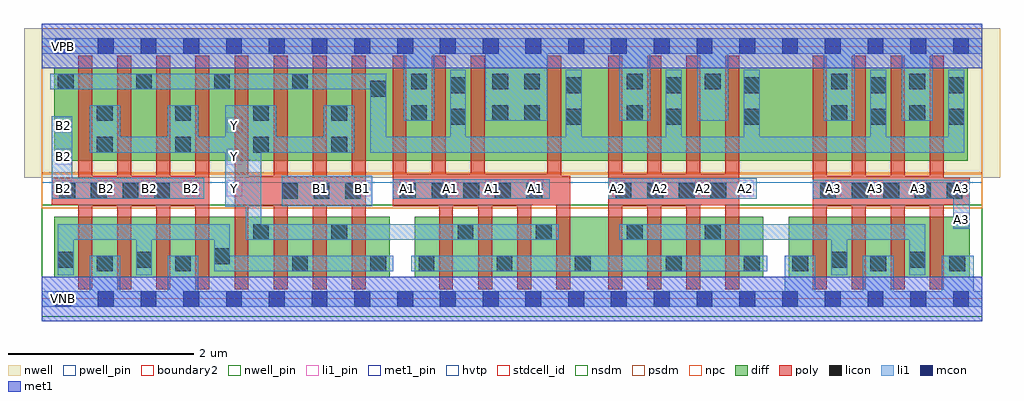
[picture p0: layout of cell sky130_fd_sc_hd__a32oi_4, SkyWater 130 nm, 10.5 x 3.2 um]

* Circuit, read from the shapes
.subckt sky130_fd_sc_hd__a32oi_4 A1 A2 A3 B1 B2 VGND VNB VPB VPWR Y
XM1 VGND B2 n1 VNB sky130_fd_pr__nfet_01v8 w=0.65 l=0.15 m=4
XM2 Y B1 n1 VNB sky130_fd_pr__nfet_01v8 w=0.65 l=0.15 m=4
XM3 Y A1 n2 VNB sky130_fd_pr__nfet_01v8 w=0.65 l=0.15 m=4
XM4 n3 A2 n2 VNB sky130_fd_pr__nfet_01v8 w=0.65 l=0.15 m=4
XM5 n3 A3 VGND VNB sky130_fd_pr__nfet_01v8 w=0.65 l=0.15 m=4
XM6 Y B2 n4 VPB sky130_fd_pr__pfet_01v8_hvt w=1 l=0.15 m=4
XM7 Y B1 n4 VPB sky130_fd_pr__pfet_01v8_hvt w=1 l=0.15 m=4
XM8 VPWR A1 n4 VPB sky130_fd_pr__pfet_01v8_hvt w=1 l=0.15 m=4
XM9 VPWR A2 n4 VPB sky130_fd_pr__pfet_01v8_hvt w=1 l=0.15 m=4
XM10 VPWR A3 n4 VPB sky130_fd_pr__pfet_01v8_hvt w=1 l=0.15 m=4
.ends

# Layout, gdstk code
import gdstk
lib = gdstk.Library(unit=1e-6, precision=1e-09)
def R(c, l, rs):  # rectangles x0, y0, x1, y1
    for r in rs: c.add(gdstk.rectangle(r[:2], r[2:], *l))
def A(c, l, x, y, w, h, nx, ny, dx, dy):  # array of equal rectangles
    R(c, l, [(x+i*dx, y+j*dy, x+i*dx+w, y+j*dy+h) for i in range(nx) for j in range(ny)])
def P(c, l, *ps):  # polygons
    for p in ps: c.add(gdstk.Polygon(p, *l))
nwell_pin = (64, 16)
nwell = (64, 20)
diff = (65, 20)
poly = (66, 20)
licon = (66, 44)
li1_pin = (67, 16)
li1 = (67, 20)
mcon = (67, 44)
met1_pin = (68, 16)
met1 = (68, 20)
hvtp = (78, 44)
stdcell_id = (81, 4)
nsdm = (93, 44)
psdm = (94, 20)
npc = (95, 20)
pwell_pin = (122, 16)
boundary2 = (236, 0)

sky130_fd_sc_hd__a32oi_4 = lib.new_cell('sky130_fd_sc_hd__a32oi_4')
R(sky130_fd_sc_hd__a32oi_4, nwell_pin, [(0.15,2.635,0.32,2.805), (0.15,2.635,0.32,2.805)])
R(sky130_fd_sc_hd__a32oi_4, nwell, [(-0.19,1.305,10.31,2.91)])
R(sky130_fd_sc_hd__a32oi_4, diff, [(0.135,0.235,3.745,0.885), (4.015,0.235,7.765,0.885), (8.035,0.235,9.985,0.885), (0.135,1.485,9.965,2.485)])
R(sky130_fd_sc_hd__a32oi_4, poly, [(0.11,1.015,0.395,1.025), (0.11,1.295,0.395,1.305)])
P(sky130_fd_sc_hd__a32oi_4, poly, [(9.985,1.305),(9.705,1.305),(9.705,2.615),(9.555,2.615),(9.555,1.325),(9.285,1.325),(9.285,2.615),(9.135,2.615),(9.135,1.325),(8.865,1.325),(8.865,2.615),(8.715,2.615),(8.715,1.325),(8.445,1.325),(8.445,2.615),(8.295,2.615),(8.295,0.105),(8.445,0.105),(8.445,0.995),(8.715,0.995),(8.715,0.105),(8.865,0.105),(8.865,0.995),(9.135,0.995),(9.135,0.105),(9.285,0.105),(9.285,0.995),(9.555,0.995),(9.555,0.105),(9.705,0.105),(9.705,1.015),(9.985,1.015)],
  [(7.505,2.615),(7.355,2.615),(7.355,1.345),(7.085,1.345),(7.085,2.615),(6.935,2.615),(6.935,1.345),(6.665,1.345),(6.665,2.615),(6.515,2.615),(6.515,1.345),(6.245,1.345),(6.245,2.615),(6.095,2.615),(6.095,0.105),(6.245,0.105),(6.245,0.995),(6.515,0.995),(6.515,0.105),(6.665,0.105),(6.665,0.995),(6.935,0.995),(6.935,0.105),(7.085,0.105),(7.085,1.01),(7.355,1.01),(7.355,0.105),(7.505,0.105)],
  [(5.685,1.325),(5.59,1.325),(5.59,2.615),(5.44,2.615),(5.44,1.345),(4.765,1.345),(4.765,2.615),(4.615,2.615),(4.615,1.345),(4.345,1.345),(4.345,2.615),(4.195,2.615),(4.195,1.345),(3.925,1.345),(3.925,2.615),(3.775,2.615),(3.775,0.995),(4.275,0.995),(4.275,0.105),(4.425,0.105),(4.425,0.995),(4.695,0.995),(4.695,0.105),(4.845,0.105),(4.845,0.995),(5.115,0.995),(5.115,0.105),(5.265,0.105),(5.265,1.01),(5.535,1.01),(5.535,0.105),(5.685,0.105)],
  [(3.485,2.615),(3.335,2.615),(3.335,1.325),(3.065,1.325),(3.065,2.615),(2.915,2.615),(2.915,1.325),(2.645,1.325),(2.645,2.615),(2.495,2.615),(2.495,1.325),(2.225,1.325),(2.225,2.615),(2.075,2.615),(2.075,0.105),(2.225,0.105),(2.225,0.995),(2.495,0.995),(2.495,0.105),(2.645,0.105),(2.645,0.995),(2.915,0.995),(2.915,0.105),(3.065,0.105),(3.065,0.995),(3.335,0.995),(3.335,0.105),(3.485,0.105)],
  [(1.805,2.615),(1.655,2.615),(1.655,1.325),(1.385,1.325),(1.385,2.615),(1.235,2.615),(1.235,1.325),(0.965,1.325),(0.965,2.615),(0.815,2.615),(0.815,1.325),(0.545,1.325),(0.545,2.615),(0.395,2.615),(0.395,1.295),(0.11,1.295),(0.11,1.025),(0.395,1.025),(0.395,0.105),(0.545,0.105),(0.545,0.995),(0.815,0.995),(0.815,0.105),(0.965,0.105),(0.965,0.995),(1.235,0.995),(1.235,0.105),(1.385,0.105),(1.385,0.995),(1.655,0.995),(1.655,0.105),(1.805,0.105)])
A(sky130_fd_sc_hd__a32oi_4, licon, 4.055, 0.295, 0.17, 0.17, 3, 1, 0.84, 0)
A(sky130_fd_sc_hd__a32oi_4, licon, 0.19, 1.075, 0.17, 0.17, 4, 1, 0.34, 0)
A(sky130_fd_sc_hd__a32oi_4, licon, 2.585, 1.075, 0.17, 0.17, 3, 1, 0.34, 0)
A(sky130_fd_sc_hd__a32oi_4, licon, 3.855, 1.075, 0.17, 0.17, 5, 1, 0.34, 0)
A(sky130_fd_sc_hd__a32oi_4, licon, 6.175, 1.075, 0.17, 0.17, 4, 1, 0.34, 0)
A(sky130_fd_sc_hd__a32oi_4, licon, 8.375, 1.075, 0.17, 0.17, 5, 1, 0.34, 0)
A(sky130_fd_sc_hd__a32oi_4, licon, 0.595, 1.575, 0.17, 0.17, 4, 2, 0.84, 0.34)
A(sky130_fd_sc_hd__a32oi_4, licon, 0.175, 2.255, 0.17, 0.17, 4, 1, 0.84, 0)
R(sky130_fd_sc_hd__a32oi_4, licon, [(0.595,0.295,0.765,0.465), (1.435,0.295,1.605,0.465), (2.695,0.295,2.865,0.465), (3.535,0.295,3.705,0.465), (6.715,0.295,6.885,0.465), (7.555,0.295,7.725,0.465), (8.075,0.295,8.245,0.465), (8.915,0.295,9.085,0.465), (9.765,0.295,9.935,0.465), (0.175,0.335,0.345,0.505), (1.015,0.335,1.185,0.505), (8.495,0.335,8.665,0.505), (9.335,0.335,9.505,0.505), (1.855,0.375,2.025,0.545), (2.275,0.635,2.445,0.805), (3.115,0.635,3.285,0.805), (4.475,0.635,4.645,0.805), (5.315,0.635,5.485,0.805), (6.295,0.635,6.465,0.805), (7.135,0.635,7.305,0.805), (4.395,1.875,4.565,2.045), (5.64,1.875,5.81,2.045), (6.715,1.875,6.885,2.045), (7.555,1.875,7.725,2.045), (8.915,1.875,9.085,2.045), (9.755,1.875,9.925,2.045), (3.975,1.915,4.145,2.085), (4.85,1.915,5.02,2.085), (5.19,1.915,5.36,2.085), (6.295,1.915,6.465,2.085), (8.495,1.915,8.665,2.085), (9.335,1.915,9.505,2.085), (3.535,2.175,3.705,2.345), (4.395,2.215,4.565,2.385), (5.64,2.215,5.81,2.385), (6.715,2.215,6.885,2.385), (7.555,2.215,7.725,2.385), (8.915,2.215,9.085,2.385), (9.755,2.215,9.925,2.385), (3.975,2.255,4.145,2.425), (4.85,2.255,5.02,2.425), (5.19,2.255,5.36,2.425), (6.295,2.255,6.465,2.425), (7.135,2.255,7.305,2.425), (8.495,2.255,8.665,2.425), (9.335,2.255,9.505,2.425)])
A(sky130_fd_sc_hd__a32oi_4, li1_pin, 0.15, 1.105, 0.17, 0.17, 5, 1, 0.46, 0)
A(sky130_fd_sc_hd__a32oi_4, li1_pin, 3.85, 1.105, 0.17, 0.17, 4, 1, 0.46, 0)
A(sky130_fd_sc_hd__a32oi_4, li1_pin, 6.11, 1.105, 0.17, 0.17, 4, 1, 0.46, 0)
A(sky130_fd_sc_hd__a32oi_4, li1_pin, 8.43, 1.105, 0.17, 0.17, 4, 1, 0.46, 0)
R(sky130_fd_sc_hd__a32oi_4, li1_pin, [(9.81,0.765,9.98,0.935), (2.91,1.105,3.08,1.275), (3.37,1.105,3.54,1.275), (0.15,1.445,0.32,1.615), (1.99,1.445,2.16,1.615), (0.15,1.785,0.32,1.955), (1.99,1.785,2.16,1.955)])
R(sky130_fd_sc_hd__a32oi_4, li1, [(3.975,0.295,7.805,0.465), (2.585,0.995,3.555,1.325), (3.775,1.075,5.465,1.285), (6.095,1.075,7.695,1.3)])
P(sky130_fd_sc_hd__a32oi_4, li1, [(10.12,0.085),(10.025,0.085),(10.025,0.465),(9.685,0.465),(9.685,0.085),(9.165,0.085),(9.165,0.465),(8.835,0.465),(8.835,0.085),(8.325,0.085),(8.325,0.465),(7.995,0.465),(7.995,0.085),(1.685,0.085),(1.685,0.465),(1.355,0.465),(1.355,0.085),(0.845,0.085),(0.845,0.465),(0.515,0.465),(0.515,0.085),(0,0.085),(0,-0.085),(10.12,-0.085)],
  [(10.12,2.805),(0,2.805),(0,2.635),(3.895,2.635),(3.895,1.915),(4.225,1.915),(4.225,2.635),(4.77,2.635),(4.77,1.915),(5.44,1.915),(5.44,2.635),(6.215,2.635),(6.215,1.915),(6.545,1.915),(6.545,2.635),(7.055,2.635),(7.055,1.915),(7.385,1.915),(7.385,2.635),(8.415,2.635),(8.415,1.915),(8.745,1.915),(8.745,2.635),(9.255,2.635),(9.255,1.915),(9.585,1.915),(9.585,2.635),(10.12,2.635)],
  [(9.505,0.805),(6.215,0.805),(6.215,0.635),(8.495,0.635),(8.495,0.255),(8.665,0.255),(8.665,0.635),(9.335,0.635),(9.335,0.255),(9.505,0.255)],
  [(9.925,2.465),(9.755,2.465),(9.755,1.745),(9.085,1.745),(9.085,2.465),(8.915,2.465),(8.915,1.745),(7.725,1.745),(7.725,2.465),(7.555,2.465),(7.555,1.745),(6.885,1.745),(6.885,2.465),(6.715,2.465),(6.715,1.745),(5.81,1.745),(5.81,2.465),(5.64,2.465),(5.64,1.745),(4.565,1.745),(4.565,2.465),(4.395,2.465),(4.395,1.745),(3.705,1.745),(3.705,2.425),(0.095,2.425),(0.095,2.255),(3.535,2.255),(3.535,1.575),(9.925,1.575)],
  [(5.565,0.805),(2.365,0.805),(2.365,1.575),(3.365,1.575),(3.365,2.085),(3.035,2.085),(3.035,1.745),(2.525,1.745),(2.525,2.085),(1.975,2.085),(1.975,1.745),(1.685,1.745),(1.685,2.085),(1.355,2.085),(1.355,1.745),(0.845,1.745),(0.845,2.085),(0.515,2.085),(0.515,1.575),(1.975,1.575),(1.975,0.99),(2.195,0.99),(2.195,0.635),(5.565,0.635)],
  [(1.75,1.305),(0.33,1.305),(0.33,1.965),(0.11,1.965),(0.11,1.075),(1.75,1.075)],
  [(3.785,0.465),(2.025,0.465),(2.025,0.805),(0.175,0.805),(0.175,0.255),(0.345,0.255),(0.345,0.635),(1.015,0.635),(1.015,0.255),(1.185,0.255),(1.185,0.635),(1.855,0.635),(1.855,0.295),(3.785,0.295)],
  [(9.985,1.28),(8.295,1.28),(8.295,1.075),(9.805,1.075),(9.805,0.755),(9.985,0.755)])
A(sky130_fd_sc_hd__a32oi_4, mcon, 0.145, -0.085, 0.17, 0.17, 22, 2, 0.46, 2.72)
R(sky130_fd_sc_hd__a32oi_4, met1_pin, [(0.15,-0.085,0.32,0.085), (0.15,-0.085,0.32,0.085), (0.15,2.635,0.32,2.805), (0.15,2.635,0.32,2.805)])
R(sky130_fd_sc_hd__a32oi_4, met1, [(0,-0.24,10.12,0.24), (0,2.48,10.12,2.96)])
R(sky130_fd_sc_hd__a32oi_4, hvtp, [(0,1.25,10.12,2.72)])
R(sky130_fd_sc_hd__a32oi_4, stdcell_id, [(0,0,10.12,2.72)])
R(sky130_fd_sc_hd__a32oi_4, nsdm, [(0,-0.19,10.12,1.015)])
R(sky130_fd_sc_hd__a32oi_4, psdm, [(0,1.355,10.12,2.91)])
R(sky130_fd_sc_hd__a32oi_4, npc, [(0,0.975,10.12,1.345)])
R(sky130_fd_sc_hd__a32oi_4, pwell_pin, [(0.15,-0.085,0.32,0.085), (0.15,-0.085,0.32,0.085)])
R(sky130_fd_sc_hd__a32oi_4, boundary2, [(0,0,10.12,2.72)])
sky130_fd_sc_hd__a32oi_4.add(gdstk.Label('A3', (9.895,1.19), layer=67, texttype=5))
sky130_fd_sc_hd__a32oi_4.add(gdstk.Label('A3', (9.435,1.19), layer=67, texttype=5))
sky130_fd_sc_hd__a32oi_4.add(gdstk.Label('A3', (8.975,1.19), layer=67, texttype=5))
sky130_fd_sc_hd__a32oi_4.add(gdstk.Label('A3', (8.515,1.19), layer=67, texttype=5))
sky130_fd_sc_hd__a32oi_4.add(gdstk.Label('A2', (7.575,1.19), layer=67, texttype=5))
sky130_fd_sc_hd__a32oi_4.add(gdstk.Label('A2', (7.115,1.19), layer=67, texttype=5))
sky130_fd_sc_hd__a32oi_4.add(gdstk.Label('A2', (6.655,1.19), layer=67, texttype=5))
sky130_fd_sc_hd__a32oi_4.add(gdstk.Label('A2', (6.195,1.19), layer=67, texttype=5))
sky130_fd_sc_hd__a32oi_4.add(gdstk.Label('A1', (4.855,1.19), layer=67, texttype=5))
sky130_fd_sc_hd__a32oi_4.add(gdstk.Label('A1', (4.395,1.19), layer=67, texttype=5))
sky130_fd_sc_hd__a32oi_4.add(gdstk.Label('A1', (3.935,1.19), layer=67, texttype=5))
sky130_fd_sc_hd__a32oi_4.add(gdstk.Label('A3', (9.895,0.85), layer=67, texttype=5))
sky130_fd_sc_hd__a32oi_4.add(gdstk.Label('B1', (3.455,1.19), layer=67, texttype=5))
sky130_fd_sc_hd__a32oi_4.add(gdstk.Label('Y', (2.075,1.87), layer=67, texttype=5))
sky130_fd_sc_hd__a32oi_4.add(gdstk.Label('B2', (0.235,1.19), layer=67, texttype=5))
sky130_fd_sc_hd__a32oi_4.add(gdstk.Label('B2', (1.155,1.19), layer=67, texttype=5))
sky130_fd_sc_hd__a32oi_4.add(gdstk.Label('B2', (0.695,1.19), layer=67, texttype=5))
sky130_fd_sc_hd__a32oi_4.add(gdstk.Label('B2', (0.235,1.53), layer=67, texttype=5))
sky130_fd_sc_hd__a32oi_4.add(gdstk.Label('B2', (0.235,1.87), layer=67, texttype=5))
sky130_fd_sc_hd__a32oi_4.add(gdstk.Label('B2', (1.615,1.19), layer=67, texttype=5))
sky130_fd_sc_hd__a32oi_4.add(gdstk.Label('Y', (2.075,1.19), layer=67, texttype=5))
sky130_fd_sc_hd__a32oi_4.add(gdstk.Label('Y', (2.075,1.53), layer=67, texttype=5))
sky130_fd_sc_hd__a32oi_4.add(gdstk.Label('B1', (2.995,1.19), layer=67, texttype=5))
sky130_fd_sc_hd__a32oi_4.add(gdstk.Label('A1', (5.315,1.19), layer=67, texttype=5))
sky130_fd_sc_hd__a32oi_4.add(gdstk.Label('VNB', (0.235,0), layer=64, texttype=59))
sky130_fd_sc_hd__a32oi_4.add(gdstk.Label('VNB', (0.235,0), layer=64, texttype=59))
sky130_fd_sc_hd__a32oi_4.add(gdstk.Label('VPB', (0.235,2.72), layer=64, texttype=5))
sky130_fd_sc_hd__a32oi_4.add(gdstk.Label('VPB', (0.235,2.72), layer=64, texttype=5))
sky130_fd_sc_hd__a32oi_4.add(gdstk.Label('VGND', (0.23,0), layer=68, texttype=5))
sky130_fd_sc_hd__a32oi_4.add(gdstk.Label('VGND', (0.23,0), layer=68, texttype=5))
sky130_fd_sc_hd__a32oi_4.add(gdstk.Label('VPWR', (0.23,2.72), layer=68, texttype=5))
sky130_fd_sc_hd__a32oi_4.add(gdstk.Label('VPWR', (0.23,2.72), layer=68, texttype=5))
sky130_fd_sc_hd__a32oi_4.add(gdstk.Label('a32oi_4', (0,0), layer=83, texttype=44))

lib.write_gds('sky130_fd_sc_hd__a32oi_4.gds')
